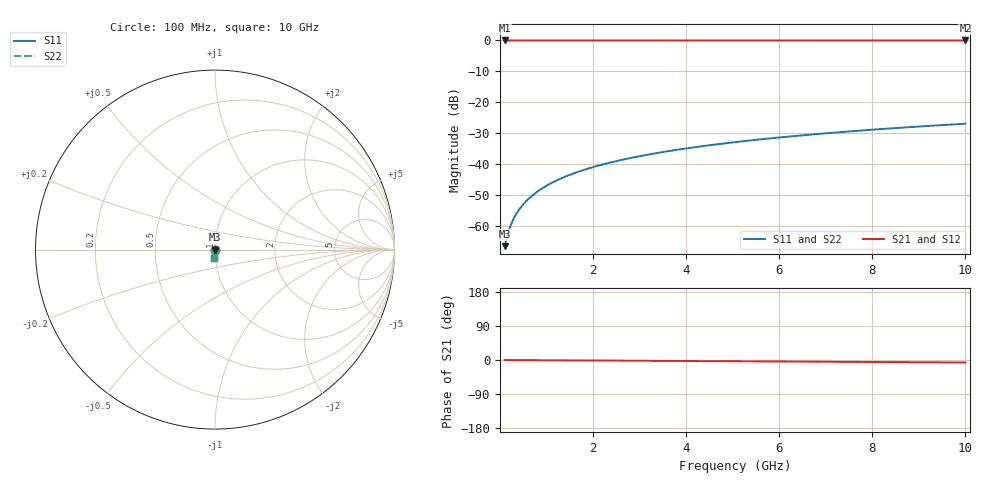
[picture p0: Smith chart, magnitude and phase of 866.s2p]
# Hz S RI R 50.00
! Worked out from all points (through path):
!   100 points, 100 MHz to 10 GHz, reference 50 ohm
!   highest |S21| = 0.00 dB at 100 MHz (marker M1); lowest = 0.0 dB at 10 GHz (marker M2)
!   lowest |S11| = -66.6 dB at 100 MHz (marker M3), VSWR 1.00, Z = 50 - j0.0445 ohm
!   |S11| at or under -10 dB: start of sweep to end of sweep
!   |S22| runs from -66.6 to -26.9 dB; largest |S21 - S12| = 0
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1e8  0.000148 -0.000445  0.9998 -0.00114  0.9998 -0.00114  0.000148 -0.000445
2e8  0.000147 -0.000891  0.9998 -0.00228  0.9998 -0.00228  0.000147 -0.000891
3e8  0.000144 -0.00134  0.9998 -0.00342  0.9998 -0.00342  0.000144 -0.00134
4e8  0.00014 -0.00178  0.9998 -0.00456  0.9998 -0.00456  0.00014 -0.00178
5e8  0.000135 -0.00223  0.9998 -0.0057  0.9998 -0.0057  0.000135 -0.00223
6e8  0.00013 -0.00267  0.9998 -0.00684  0.9998 -0.00684  0.00013 -0.00267
7e8  0.000123 -0.00312  0.9998 -0.00797  0.9998 -0.00797  0.000123 -0.00312
8e8  0.000115 -0.00356  0.9998 -0.00911  0.9998 -0.00911  0.000115 -0.00356
9e8  0.000106 -0.00401  0.9998 -0.0103  0.9998 -0.0103  0.000106 -0.00401
1.1e9  8.45e-05 -0.0049  0.9997 -0.0125  0.9997 -0.0125  8.45e-05 -0.0049
1.4e9  4.5e-05 -0.00624  0.9997 -0.016  0.9997 -0.016  4.5e-05 -0.00624
1.8e9  -2.22e-05 -0.00803  0.9996 -0.0205  0.9996 -0.0205  -2.22e-05 -0.00803
2.1e9  -8.33e-05 -0.00937  0.9995 -0.0239  0.9995 -0.0239  -8.33e-05 -0.00937
2.5e9  -0.000179 -0.0112  0.9994 -0.0285  0.9994 -0.0285  -0.000179 -0.0112
2.9e9  -0.000292 -0.0129  0.9992 -0.0331  0.9992 -0.0331  -0.000292 -0.0129
3.4e9  -0.000456 -0.0152  0.9989 -0.0388  0.9989 -0.0388  -0.000456 -0.0152
4.2e9  -0.000772 -0.0188  0.9985 -0.048  0.9985 -0.048  -0.000772 -0.0188
5.1e9  -0.00121 -0.0228  0.9978 -0.0583  0.9978 -0.0583  -0.00121 -0.0228
5.9e9  -0.00167 -0.0264  0.9972 -0.0675  0.9972 -0.0675  -0.00167 -0.0264
6.7e9  -0.00219 -0.03  0.9964 -0.0767  0.9964 -0.0767  -0.00219 -0.03
8.4e9  -0.00354 -0.0376  0.9944 -0.0963  0.9944 -0.0963  -0.00354 -0.0376
1e10  -0.00508 -0.0447  0.9921 -0.1148  0.9921 -0.1148  -0.00508 -0.0447
